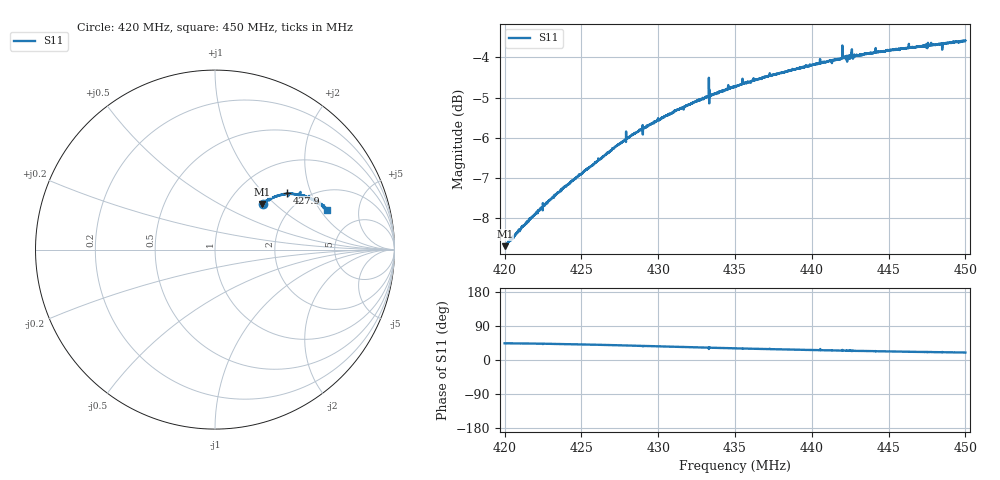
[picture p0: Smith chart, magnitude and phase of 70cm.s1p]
! Calibrated averaged scanner-service zoom
# Hz S RI R 50
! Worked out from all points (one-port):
!   3001 points, 420 MHz to 450 MHz, reference 50 ohm
!   lowest |S11| = -8.7 dB at 420 MHz (marker M1), VSWR 2.16, Z = 71.3 + j42 ohm
!   |S11| at or under -10 dB: nowhere
!   S11 on the Smith chart (normalised r, x): 420 MHz: 1.43, +0.84; 427.9 MHz: 1.60, +1.38; 450 MHz: 2.93, +2.33
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4.2e8  0.2647 0.2553
4.2002e8  0.2641 0.2549
4.2173e8  0.29 0.2733
4.2375e8  0.3211 0.2896
4.2575e8  0.3533 0.3004
4.275e8  0.3841 0.3087
4.2791e8  0.3994 0.3172
4.2881e8  0.4069 0.311
4.3125e8  0.4462 0.3095
4.3308e8  0.4734 0.3045
4.3314e8  0.473 0.3045
4.3315e8  0.4741 0.3039
4.3344e8  0.4777 0.3031
4.3346e8  0.479 0.3029
4.35e8  0.4992 0.2974
4.3691e8  0.5217 0.2893
4.3737e8  0.5258 0.2871
4.3788e8  0.5312 0.2841
4.3875e8  0.5404 0.2816
4.4036e8  0.5559 0.2729
4.4041e8  0.5568 0.273
4.408e8  0.5603 0.2696
4.4208e8  0.5726 0.2634
4.4236e8  0.5766 0.2628
4.425e8  0.5741 0.2596
4.4625e8  0.6023 0.2403
4.481e8  0.6125 0.2317
4.5e8  0.6236 0.2234
